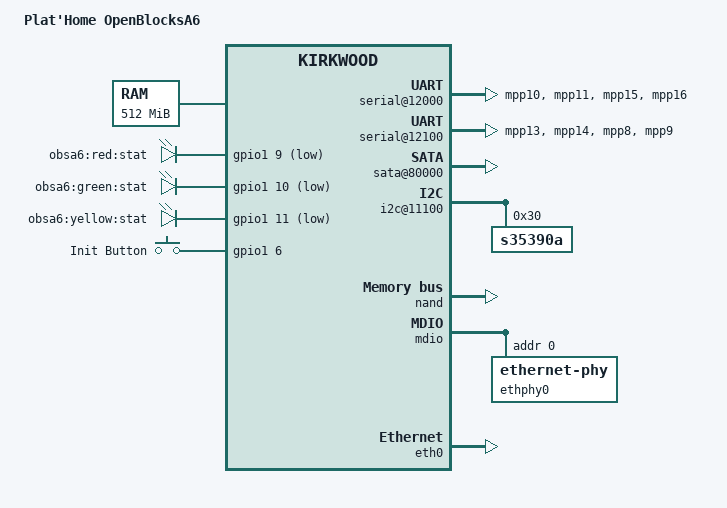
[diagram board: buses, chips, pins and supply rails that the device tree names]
/dts-v1/;

#include "kirkwood.dtsi"
#include "kirkwood-6282.dtsi"

/ {
	model = "Plat'Home OpenBlocksA6";
	compatible = "plathome,openblocks-a6", "marvell,kirkwood-88f6283", "marvell,kirkwood";

	memory {
		device_type = "memory";
		reg = <0x00000000 0x20000000>;
	};

	chosen {
		bootargs = "console=ttyS0,115200n8 earlyprintk";
	};

	ocp@f1000000 {
		serial@12000 {
			status = "ok";
			pinctrl-0 = <&pmx_uart0>;
			pinctrl-names = "default";
		};

		serial@12100 {
			status = "ok";
			pinctrl-0 = <&pmx_uart1>;
			pinctrl-names = "default";
		};

		sata@80000 {
			nr-ports = <1>;
			status = "okay";
		};

		i2c@11100 {
			status = "okay";
			pinctrl-0 = <&pmx_twsi1>;
			pinctrl-names = "default";

			s35390a: s35390a@30 {
				compatible = "s35390a";
				reg = <0x30>;
			};
		};

		pinctrl: pinctrl@10000 {
			pinctrl-0 = <&pmx_dip_switches &pmx_gpio_header>;
			pinctrl-names = "default";

			pmx_uart0: pmx-uart0 {
				marvell,pins = "mpp10", "mpp11", "mpp15",
					"mpp16";
				marvell,function = "uart0";
			};

			pmx_uart1: pmx-uart1 {
				marvell,pins = "mpp13", "mpp14", "mpp8",
					"mpp9";
				marvell,function = "uart1";
			};

			pmx_sysrst: pmx-sysrst {
				marvell,pins = "mpp6";
				marvell,function = "sysrst";
			};

			pmx_dip_switches: pmx-dip-switches {
				marvell,pins = "mpp20", "mpp21", "mpp22", "mpp23";
				marvell,function = "gpio";
			};

			pmx_gpio_header: pmx-gpio-header {
				marvell,pins = "mpp24", "mpp25", "mpp26", "mpp27",
					       "mpp28", "mpp29", "mpp30", "mpp31";
				marvell,function = "gpio";
			};

			pmx_gpio_init: pmx-init {
				marvell,pins = "mpp38";
				marvell,function = "gpio";
			};

			pmx_usb_oc: pmx-usb-oc {
				marvell,pins = "mpp39";
				marvell,function = "gpio";
			};

			pmx_leds: pmx-leds {
				marvell,pins = "mpp41", "mpp42", "mpp43";
				marvell,function = "gpio";
			};
		};
	};

	gpio-leds {
		compatible = "gpio-leds";
		pinctrl-0 = <&pmx_leds>;
		pinctrl-names = "default";

		led-red {
			label = "obsa6:red:stat";
			gpios = <&gpio1 9 GPIO_ACTIVE_LOW>;
		};

		led-green {
			label = "obsa6:green:stat";
			gpios = <&gpio1 10 GPIO_ACTIVE_LOW>;
		};

		led-yellow {
			label = "obsa6:yellow:stat";
			gpios = <&gpio1 11 GPIO_ACTIVE_LOW>;
		};
        };

	gpio_keys {
		compatible = "gpio-keys";
		pinctrl-0 = <&pmx_gpio_init>;
		pinctrl-names = "default";
		#address-cells = <1>;
		#size-cells = <0>;

		button@1 {
			label = "Init Button";
			linux,code = <KEY_POWER>;
			gpios = <&gpio1 6 GPIO_ACTIVE_HIGH>;
		};
	};
};

&nand {
	chip-delay = <25>;
	status = "okay";
	pinctrl-0 = <&pmx_nand>;
	pinctrl-names = "default";

	partition@0 {
		label = "uboot";
		reg = <0x0 0x90000>;
	};

	partition@90000 {
		label = "env";
		reg = <0x90000 0x44000>;
	};

	partition@d4000 {
		label = "test";
		reg = <0xd4000 0x24000>;
	};

	partition@f4000 {
		label = "conf";
		reg = <0xf4000 0x400000>;
	};

	partition@4f4000 {
		label = "linux";
		reg = <0x4f4000 0x1d20000>;
	};

	partition@2214000 {
		label = "user";
		reg = <0x2214000 0x1dec000>;
	};
};

&mdio {
	status = "okay";

	ethphy0: ethernet-phy@0 {
		device_type = "ethernet-phy";
		reg = <0>;
	};
};

&eth0 {
	status = "okay";
	ethernet0-port@0 {
		phy-handle = <&ethphy0>;
	};
};
